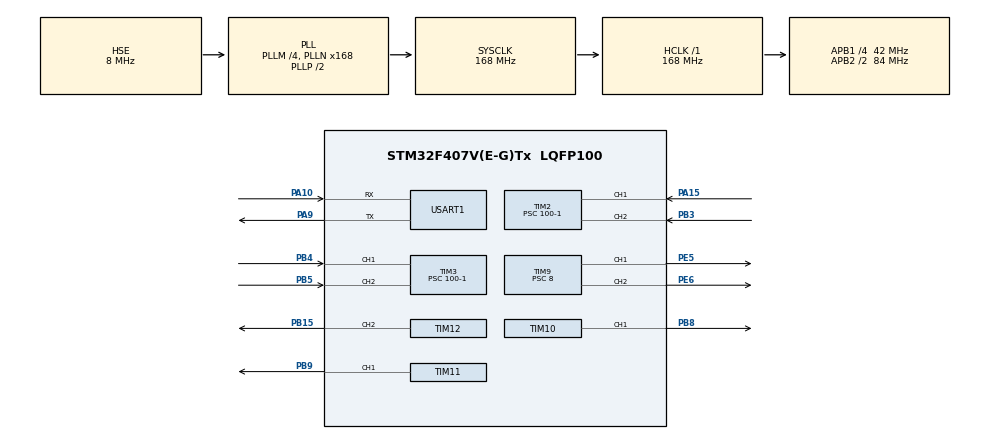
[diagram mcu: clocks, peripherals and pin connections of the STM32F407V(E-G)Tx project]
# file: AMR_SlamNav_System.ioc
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Dma.MEMTOMEM.2.Direction=DMA_MEMORY_TO_MEMORY
Dma.MEMTOMEM.2.FIFOMode=DMA_FIFOMODE_ENABLE
Dma.MEMTOMEM.2.FIFOThreshold=DMA_FIFO_THRESHOLD_FULL
Dma.MEMTOMEM.2.Instance=DMA2_Stream1
Dma.MEMTOMEM.2.MemBurst=DMA_MBURST_SINGLE
Dma.MEMTOMEM.2.MemDataAlignment=DMA_MDATAALIGN_BYTE
Dma.MEMTOMEM.2.MemInc=DMA_MINC_ENABLE
Dma.MEMTOMEM.2.Mode=DMA_NORMAL
Dma.MEMTOMEM.2.PeriphBurst=DMA_PBURST_SINGLE
Dma.MEMTOMEM.2.PeriphDataAlignment=DMA_PDATAALIGN_BYTE
Dma.MEMTOMEM.2.PeriphInc=DMA_PINC_ENABLE
Dma.MEMTOMEM.2.Priority=DMA_PRIORITY_LOW
Dma.Request0=USART1_RX
Dma.Request1=USART1_TX
Dma.Request2=MEMTOMEM
Dma.USART1_RX.0.Direction=DMA_PERIPH_TO_MEMORY
Dma.USART1_RX.0.FIFOMode=DMA_FIFOMODE_DISABLE
Dma.USART1_RX.0.Instance=DMA2_Stream2
Dma.USART1_RX.0.MemDataAlignment=DMA_MDATAALIGN_BYTE
Dma.USART1_RX.0.MemInc=DMA_MINC_ENABLE
Dma.USART1_RX.0.Mode=DMA_NORMAL
Dma.USART1_RX.0.PeriphDataAlignment=DMA_PDATAALIGN_BYTE
Dma.USART1_RX.0.PeriphInc=DMA_PINC_DISABLE
Dma.USART1_RX.0.Priority=DMA_PRIORITY_MEDIUM
Dma.USART1_TX.1.Direction=DMA_MEMORY_TO_PERIPH
Dma.USART1_TX.1.FIFOMode=DMA_FIFOMODE_DISABLE
Dma.USART1_TX.1.Instance=DMA2_Stream7
Dma.USART1_TX.1.MemDataAlignment=DMA_MDATAALIGN_BYTE
Dma.USART1_TX.1.MemInc=DMA_MINC_ENABLE
Dma.USART1_TX.1.Mode=DMA_NORMAL
Dma.USART1_TX.1.PeriphDataAlignment=DMA_PDATAALIGN_BYTE
Dma.USART1_TX.1.PeriphInc=DMA_PINC_DISABLE
Dma.USART1_TX.1.Priority=DMA_PRIORITY_MEDIUM
FREERTOS.Tasks01=Twist,0,128,Handle_Twist,Default,NULL,Dynamic,NULL,NULL;Odom,-3,128,Handle_Odom,Default,NULL,Dynamic,NULL,NULL
FREERTOS.configUSE_NEWLIB_REENTRANT=1
FREERTOS.configUSE_TIMERS=0
Mcu.Family=STM32F4
Mcu.Name=STM32F407V(E-G)Tx
Mcu.Package=LQFP100
NVIC.DMA2_Stream2_IRQn=true\:5\:0\:false\:false\:true\:true\:false\:true\:true
NVIC.DMA2_Stream7_IRQn=true\:5\:0\:false\:false\:true\:true\:false\:true\:true
NVIC.PriorityGroup=NVIC_PRIORITYGROUP_4
NVIC.TIM1_UP_TIM10_IRQn=true\:5\:0\:false\:false\:true\:false\:false\:true\:true
NVIC.TIM6_DAC_IRQn=true\:5\:0\:false\:false\:true\:true\:true\:true\:true
NVIC.TIM8_UP_TIM13_IRQn=true\:15\:0\:false\:false\:true\:false\:false\:true\:true
NVIC.TimeBase=TIM8_UP_TIM13_IRQn
NVIC.TimeBaseIP=TIM8
NVIC.USART1_IRQn=true\:5\:0\:false\:false\:true\:true\:true\:true\:true
PA10.Mode=Asynchronous
PA10.Signal=USART1_RX
PA13.Mode=Serial_Wire
PA13.Signal=SYS_JTMS-SWDIO
PA14.Mode=Serial_Wire
PA14.Signal=SYS_JTCK-SWCLK
PA15.Signal=S_TIM2_CH1_ETR
PA9.Mode=Asynchronous
PA9.Signal=USART1_TX
PB15.Signal=S_TIM12_CH2
PB3.Signal=S_TIM2_CH2
PB4.Signal=S_TIM3_CH1
PB5.Signal=S_TIM3_CH2
PB8.Signal=S_TIM10_CH1
PB9.Signal=S_TIM11_CH1
PD8.Signal=USART3_TX
PD9.Signal=USART3_RX
PE5.Signal=S_TIM9_CH1
PE6.Signal=S_TIM9_CH2
PH0-OSC_IN.Mode=HSE-External-Oscillator
PH0-OSC_IN.Signal=RCC_OSC_IN
PH1-OSC_OUT.Mode=HSE-External-Oscillator
PH1-OSC_OUT.Signal=RCC_OSC_OUT
ProjectManager.HeapSize=0x200
ProjectManager.StackSize=0x400
ProjectManager.TargetToolchain=STM32CubeIDE
RCC.48MHZClocksFreq_Value=84000000
RCC.AHBFreq_Value=168000000
RCC.APB1CLKDivider=RCC_HCLK_DIV4
RCC.APB1Freq_Value=42000000
RCC.APB1TimFreq_Value=84000000
RCC.APB2CLKDivider=RCC_HCLK_DIV2
RCC.APB2Freq_Value=84000000
RCC.APB2TimFreq_Value=168000000
RCC.CortexFreq_Value=168000000
RCC.HCLKFreq_Value=168000000
RCC.HSE_VALUE=8000000
RCC.HSI_VALUE=16000000
RCC.LSE_VALUE=32768
RCC.PLLM=4
RCC.PLLN=168
RCC.PLLSourceVirtual=RCC_PLLSOURCE_HSE
RCC.SYSCLKFreq_VALUE=168000000
RCC.SYSCLKSource=RCC_SYSCLKSOURCE_PLLCLK
RCC.VCOOutputFreq_Value=336000000
SH.S_TIM10_CH1.0=TIM10_CH1,PWM Generation1 CH1
SH.S_TIM11_CH1.0=TIM11_CH1,PWM Generation1 CH1
SH.S_TIM12_CH2.0=TIM12_CH2,PWM Generation2 CH2
SH.S_TIM2_CH1_ETR.0=TIM2_CH1,Encoder_Interface
SH.S_TIM2_CH2.0=TIM2_CH2,Encoder_Interface
SH.S_TIM3_CH1.0=TIM3_CH1,Encoder_Interface
SH.S_TIM3_CH2.0=TIM3_CH2,Encoder_Interface
SH.S_TIM9_CH1.0=TIM9_CH1,PWM Generation1 CH1
SH.S_TIM9_CH2.0=TIM9_CH2,PWM Generation2 CH2
TIM10.Channel=TIM_CHANNEL_1
TIM10.Period=1000-1
TIM10.Prescaler=8
TIM11.Channel=TIM_CHANNEL_1
TIM11.Period=1000-1
TIM11.Prescaler=8
TIM12.AutoReloadPreload=TIM_AUTORELOAD_PRELOAD_ENABLE
TIM12.Channel-PWM\ Generation2\ CH2=TIM_CHANNEL_2
TIM12.OC2Preload_PWM=ENABLE
TIM12.OCMode_PWM-PWM\ Generation2\ CH2=TIM_OCMODE_PWM2
TIM12.OCPolarity_2=TIM_OCPOLARITY_LOW
TIM12.Period=20000-1
TIM12.Prescaler=84-1
TIM12.Pulse-PWM\ Generation2\ CH2=1500
TIM2.EncoderMode=TIM_ENCODERMODE_TI12
TIM2.Period=4294967295
TIM2.Prescaler=100-1
TIM3.CounterMode=TIM_COUNTERMODE_UP
TIM3.EncoderMode=TIM_ENCODERMODE_TI12
TIM3.IC1Polarity=TIM_ICPOLARITY_FALLING
TIM3.Prescaler=100-1
TIM6.Period=10000
TIM6.Prescaler=840-1
TIM9.Channel-PWM\ Generation1\ CH1=TIM_CHANNEL_1
TIM9.Channel-PWM\ Generation2\ CH2=TIM_CHANNEL_2
TIM9.Period=1000-1
TIM9.Prescaler=8
USART1.VirtualMode=VM_ASYNC
VP_FREERTOS_VS_CMSIS_V1.Mode=CMSIS_V1
VP_SYS_VS_tim8.Mode=TIM8
VP_TIM10_VS_ClockSourceINT.Mode=Enable_Timer
VP_TIM11_VS_ClockSourceINT.Mode=Enable_Timer
VP_TIM12_VS_ClockSourceINT.Mode=Internal
VP_TIM6_VS_ClockSourceINT.Mode=Enable_Timer
VP_TIM9_VS_ClockSourceINT.Mode=Internal
board=custom

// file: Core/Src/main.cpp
/* USER CODE BEGIN Header */
/**
  ******************************************************************************
  * @file           : main.cpp
  * @brief          : Main program body
  ******************************************************************************
  * @attention
  *
  * Copyright (c) 2025 STMicroelectronics.
  * All rights reserved.
  *
  * This software is licensed under terms that can be found in the LICENSE file
  * in the root directory of this software component.
  * If no LICENSE file comes with this software, it is provided AS-IS.
  *
  ******************************************************************************
  */
/* USER CODE END Header */
#include "main.h"
#include "cmsis_os.h"
#include "dma.h"
#include "tim.h"
#include "usart.h"
#include "gpio.h"

/* USER CODE BEGIN Includes */
#include "string.h"
#include "math.h"
#include "Kinematics.hpp"
#include "PidController.hpp"
#include "stdio.h"
/* USER CODE END Includes */

/* USER CODE BEGIN PD */
PidController pid_controller[2];
Kinematics kinematics;
uint8_t twist[6];
uint8_t odom[18];
float out_motor_speed[2];
float speed[2];
bool uart_flag=true;

/* USER CODE END PD */

void SystemClock_Config(void);
extern "C"
{
	void MX_FREERTOS_Init(void);
	void Handle_Twist(void const * argument);
	void Handle_Odom(void const * argument);
}

/* USER CODE BEGIN 0 */
void HAL_TIM_PeriodElapsedCallback(TIM_HandleTypeDef *htim)
{
	if(htim==&htim6)
	{
		kinematics.update_motor_ticks(__HAL_TIM_GetCounter(&htim2),__HAL_TIM_GetCounter(&htim3));
		out_motor_speed[0] = pid_controller[0].update(kinematics.motor_speed(0));
		out_motor_speed[1] = pid_controller[1].update(kinematics.motor_speed(1));
		speed[0]+=out_motor_speed[0];
		speed[1]+=out_motor_speed[1];
		if(speed[0]>=0)
		{
			__HAL_TIM_SetCompare(&htim10,TIM_CHANNEL_1,0);
			__HAL_TIM_SetCompare(&htim11,TIM_CHANNEL_1,speed[0]);
		}
		else if(speed[0]<0)
		{
			__HAL_TIM_SetCompare(&htim10,TIM_CHANNEL_1,-speed[0]);
			__HAL_TIM_SetCompare(&htim11,TIM_CHANNEL_1,0);
		}
		if(speed[1]>=0)
		{
			__HAL_TIM_SetCompare(&htim9,TIM_CHANNEL_1,0);
			__HAL_TIM_SetCompare(&htim9,TIM_CHANNEL_2,speed[1]);
		}
		else if(speed[1]<0)
		{
			__HAL_TIM_SetCompare(&htim9,TIM_CHANNEL_1,-speed[1]);
			__HAL_TIM_SetCompare(&htim9,TIM_CHANNEL_2,0);
		}
	}
}
void HAL_UART_RxCpltCallback(UART_HandleTypeDef *huart)
{
	if(huart->Instance==USART1)
	{
		uart_flag=true;
		HAL_UART_Receive_DMA(&huart1, twist, sizeof(twist));
	}
}
void Handle_Twist(void const * argument)
{
  /* USER CODE BEGIN Handle_Twist */
  /* Infinite loop */
  for(;;)
  {
	if(uart_flag==true && twist[0]==0x55 && twist[5]==0x1A)
	{
		int16_t datarx_lin=(twist[1]<<8)|twist[2];
		int16_t datarx_ang=(twist[3]<<8)|twist[4];
		float linear_x=datarx_lin/100.0f;
		float angular_z=datarx_ang/100.0f;
		static float target_motor_speed1,target_motor_speed2,target_alpha;
		kinematics.kinematic_inverse(linear_x*1000, angular_z, target_motor_speed1, target_motor_speed2,target_alpha);
		pid_controller[0].update_target(target_motor_speed1);
		pid_controller[1].update_target(target_motor_speed2);
		float steer_pulse=0.05824*target_alpha*target_alpha+7.47*target_alpha+355.8;
		__HAL_TIM_SetCompare(&htim12,TIM_CHANNEL_2,steer_pulse);
		uart_flag=false;
	}
	osDelay(1000);
  }
  /* USER CODE END Handle_Twist */
}

void Float_As_Complement(float data, int i)
{
	int32_t integer_data=(int32_t)(data*100);
	uint16_t abs_data=(integer_data<0)?~(-integer_data)+1:integer_data;
	uint8_t high_byte=(abs_data>>8) & 0xFF;
	uint8_t low_byte=abs_data & 0xFF;
	odom[i]=high_byte;
	odom[i+1]=low_byte;
}

void Handle_Odom(void const * argument)
{
  /* USER CODE BEGIN Handle_Odom */
  /* Infinite loop */
  for(;;)
  {
	odom_t odom_data = kinematics.odom();
	Float_As_Complement(odom_data.x,1);
	Float_As_Complement(odom_data.y,3);
	Float_As_Complement(odom_data.quaternion.w,5);
	Float_As_Complement(odom_data.quaternion.x,7);
	Float_As_Complement(odom_data.quaternion.y,9);
	Float_As_Complement(odom_data.quaternion.z,11);
	Float_As_Complement(odom_data.angular_speed,13);
	Float_As_Complement(odom_data.linear_speed,15);
	HAL_UART_Transmit_DMA(&huart1, odom, sizeof(odom));
    osDelay(50);
  }
  /* USER CODE END Handle_Odom */
}

/* USER CODE END 0 */

int main(void)
{

  /* MCU Configuration--------------------------------------------------------*/

  /* Reset of all peripherals, Initializes the Flash interface and the Systick. */
  HAL_Init();

  /* Configure the system clock */
  SystemClock_Config();

  /* Initialize all configured peripherals */
  MX_GPIO_Init();
  MX_DMA_Init();
  MX_USART1_UART_Init();
  MX_TIM10_Init();
  MX_TIM11_Init();
  MX_TIM2_Init();
  MX_TIM12_Init();
  MX_TIM6_Init();
  MX_TIM3_Init();
  MX_TIM9_Init();

  /* USER CODE BEGIN 2 */
  HAL_UART_Receive_DMA(&huart1, twist, sizeof(twist));
  HAL_TIM_Base_Start_IT(&htim6);

  HAL_TIM_PWM_Start(&htim10, TIM_CHANNEL_1);
  HAL_TIM_PWM_Start(&htim11, TIM_CHANNEL_1);
  HAL_TIM_PWM_Start(&htim9, TIM_CHANNEL_1);
  HAL_TIM_PWM_Start(&htim9, TIM_CHANNEL_2);

  HAL_TIM_PWM_Start(&htim12, TIM_CHANNEL_2);

  HAL_TIM_Encoder_Start(&htim2,TIM_CHANNEL_ALL);
  HAL_TIM_Encoder_Start(&htim3,TIM_CHANNEL_ALL);

  odom[0]=0x55;
  odom[17]=0x1A;
  kinematics.set_motor_param(0, 30, 20, 65);
  kinematics.set_motor_param(1, 30, 20, 65);
  kinematics.set_kinematic_param(105,143,167);
  pid_controller[0].update_pid(0.3,0,0);
  pid_controller[1].update_pid(0.3,0,0);
  pid_controller[0].out_limit(-100, 100);
  pid_controller[1].out_limit(-100, 100);

  /* USER CODE END 2 */

  /* Call init function for freertos objects (in cmsis_os2.c) */
  MX_FREERTOS_Init();

  /* Start scheduler */
  osKernelStart();

  /* We should never get here as control is now taken by the scheduler */

  /* Infinite loop */
  while (1)
  {

  }
}

void SystemClock_Config(void)
{
  RCC_OscInitTypeDef RCC_OscInitStruct = {0};
  RCC_ClkInitTypeDef RCC_ClkInitStruct = {0};

  /** Configure the main internal regulator output voltage
  */
  __HAL_RCC_PWR_CLK_ENABLE();
  __HAL_PWR_VOLTAGESCALING_CONFIG(PWR_REGULATOR_VOLTAGE_SCALE1);

  /** Initializes the RCC Oscillators according to the specified parameters
  * in the RCC_OscInitTypeDef structure.
  */
  RCC_OscInitStruct.OscillatorType = RCC_OSCILLATORTYPE_HSE;
  RCC_OscInitStruct.HSEState = RCC_HSE_ON;
  RCC_OscInitStruct.PLL.PLLState = RCC_PLL_ON;
  RCC_OscInitStruct.PLL.PLLSource = RCC_PLLSOURCE_HSE;
  RCC_OscInitStruct.PLL.PLLM = 4;
  RCC_OscInitStruct.PLL.PLLN = 168;
  RCC_OscInitStruct.PLL.PLLP = RCC_PLLP_DIV2;
  RCC_OscInitStruct.PLL.PLLQ = 4;
  if (HAL_RCC_OscConfig(&RCC_OscInitStruct) != HAL_OK)
  {
    Error_Handler();
  }

  /** Initializes the CPU, AHB and APB buses clocks
  */
  RCC_ClkInitStruct.ClockType = RCC_CLOCKTYPE_HCLK|RCC_CLOCKTYPE_SYSCLK
                              |RCC_CLOCKTYPE_PCLK1|RCC_CLOCKTYPE_PCLK2;
  RCC_ClkInitStruct.SYSCLKSource = RCC_SYSCLKSOURCE_PLLCLK;
  RCC_ClkInitStruct.AHBCLKDivider = RCC_SYSCLK_DIV1;
  RCC_ClkInitStruct.APB1CLKDivider = RCC_HCLK_DIV4;
  RCC_ClkInitStruct.APB2CLKDivider = RCC_HCLK_DIV2;

  if (HAL_RCC_ClockConfig(&RCC_ClkInitStruct, FLASH_LATENCY_5) != HAL_OK)
  {
    Error_Handler();
  }
}

void Error_Handler(void)
{
  __disable_irq();
  while (1)
  {
  }
}

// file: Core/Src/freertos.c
/* USER CODE BEGIN Header */
/**
  ******************************************************************************
  * File Name          : freertos.c
  * Description        : Code for freertos applications
  ******************************************************************************
  * @attention
  *
  * Copyright (c) 2025 STMicroelectronics.
  * All rights reserved.
  *
  * This software is licensed under terms that can be found in the LICENSE file
  * in the root directory of this software component.
  * If no LICENSE file comes with this software, it is provided AS-IS.
  *
  ******************************************************************************
  */
/* USER CODE END Header */

#include "FreeRTOS.h"
#include "task.h"
#include "main.h"
#include "cmsis_os.h"

osThreadId TwistHandle;
osThreadId OdomHandle;

void Handle_Twist(void const * argument);
void Handle_Odom(void const * argument);

void MX_FREERTOS_Init(void); /* (MISRA C 2004 rule 8.1) */

/* GetIdleTaskMemory prototype (linked to static allocation support) */
void vApplicationGetIdleTaskMemory( StaticTask_t **ppxIdleTaskTCBBuffer, StackType_t **ppxIdleTaskStackBuffer, uint32_t *pulIdleTaskStackSize );

/* USER CODE BEGIN GET_IDLE_TASK_MEMORY */
static StaticTask_t xIdleTaskTCBBuffer;
static StackType_t xIdleStack[configMINIMAL_STACK_SIZE];

void vApplicationGetIdleTaskMemory( StaticTask_t **ppxIdleTaskTCBBuffer, StackType_t **ppxIdleTaskStackBuffer, uint32_t *pulIdleTaskStackSize )
{
  *ppxIdleTaskTCBBuffer = &xIdleTaskTCBBuffer;
  *ppxIdleTaskStackBuffer = &xIdleStack[0];
  *pulIdleTaskStackSize = configMINIMAL_STACK_SIZE;
  /* place for user code */
}
/* USER CODE END GET_IDLE_TASK_MEMORY */

void MX_FREERTOS_Init(void) {

  /* Create the thread(s) */
  /* definition and creation of Twist */
  osThreadDef(Twist, Handle_Twist, osPriorityNormal, 0, 128);
  TwistHandle = osThreadCreate(osThread(Twist), NULL);

  /* definition and creation of Odom */
  osThreadDef(Odom, Handle_Odom, osPriorityIdle, 0, 128);
  OdomHandle = osThreadCreate(osThread(Odom), NULL);

}
